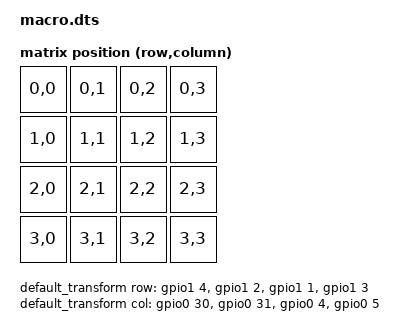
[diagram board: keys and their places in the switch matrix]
#include <nordic/nrf52840_qiaa.dtsi>
#include <dt-bindings/zmk/matrix_transform.h>

chosen{
    zmk,battery = &vbat;
        zmk,kscan = &kscan0;
        zmk,matrix_transform = &default_transform
};

default_transform: keymap_transform_0 {
    compatible = "zmk,matrix_transform";
    columns = <4>;
    rows = <4>;
    map = <
        RC(0,0) RC(0,1) RC(0,2) RC(0,3)
        RC(1,0) RC(1,1) RC(1,2) RC(1,3)
        RC(2,0) RC(2,1) RC(2,2) RC(2,3)
        RC(3,0) RC(3,1) RC(3,2) RC(3,3)
    >;
};
kscan0: kscan {
    compatible = "zmk,kscan-gpio-matrix";
wakeup-source;
    label = "KSCAN";
    diode-direction = "col2row";    wakeup-source;
    label = "KSCAN";
    diode-direction = "col2row";

    row-gpios
        = <&gpio1 4 (GPIO_ACTIVE_HIGH | GPIO_PULL_DOWN)>
        , <&gpio1 2 (GPIO_ACTIVE_HIGH | GPIO_PULL_DOWN)>
        , <&gpio1 1 (GPIO_ACTIVE_HIGH | GPIO_PULL_DOWN)>
        , <&gpio1 3 (GPIO_ACTIVE_HIGH | GPIO_PULL_DOWN)>
        ;

    col-gpios
        = <&gpio0 30 GPIO_ACTIVE_HIGH>
        , <&gpio0 31 GPIO_ACTIVE_HIGH>
        , <&gpio0 4 GPIO_ACTIVE_HIGH>
        , <&gpio0 5 GPIO_ACTIVE_HIGH>
        ;
};

ext-power {
		compatible = "zmk,ext-power-generic";
		label = "EXT_POWER";
    init-delay-ms = <10>;
};

